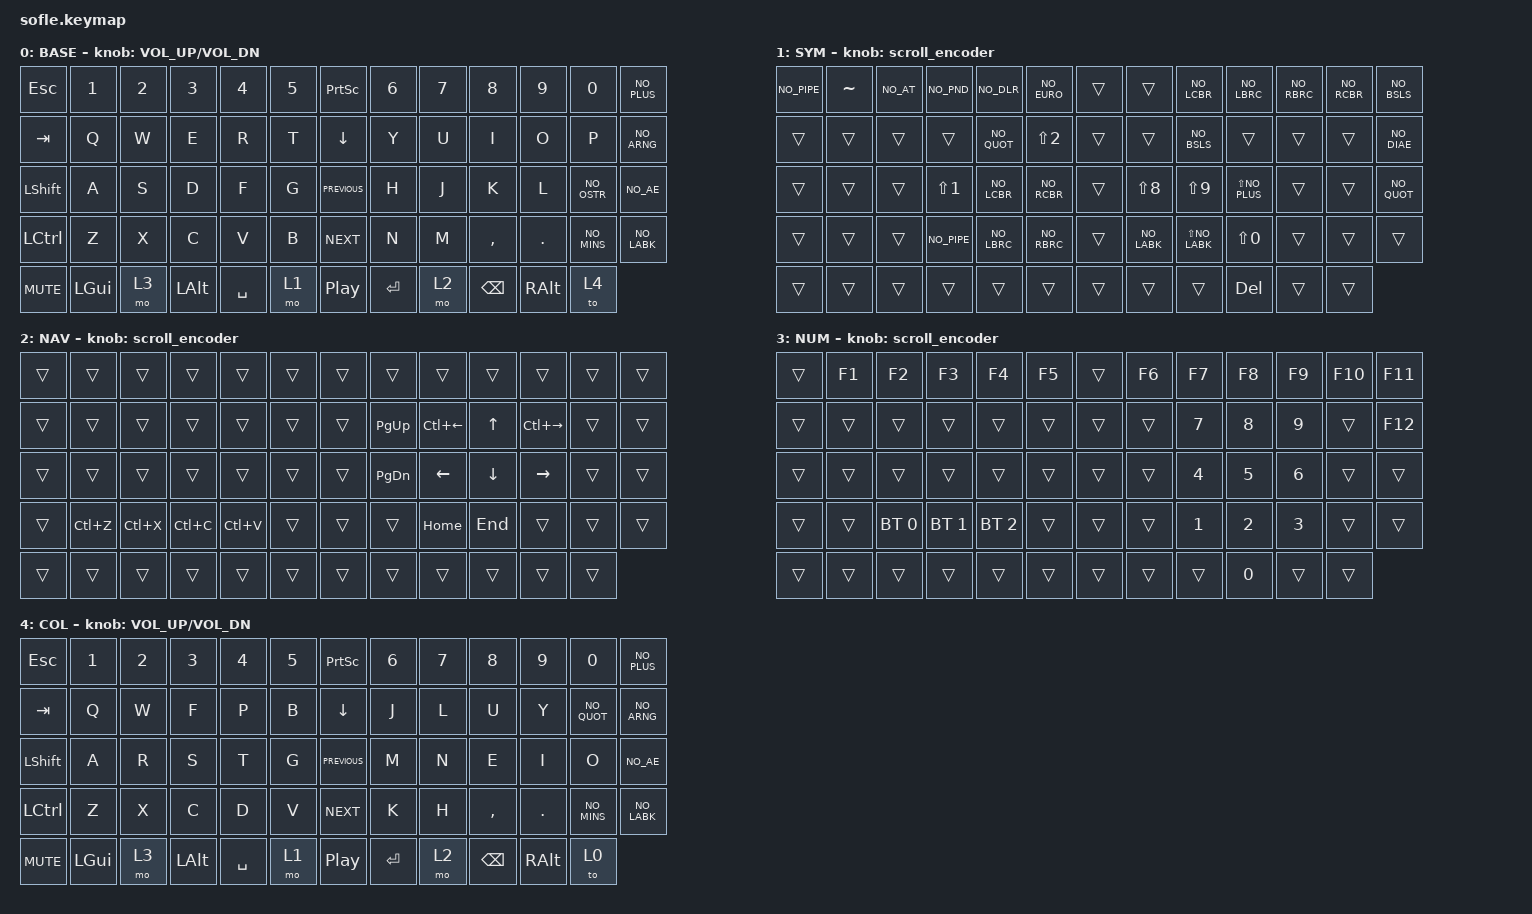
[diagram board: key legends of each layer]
#include <behaviors/mouse_keys.dtsi>
#include <dt-bindings/zmk/mouse.h>
#include "keys_no.h"
#include <behaviors.dtsi>
#include <dt-bindings/zmk/bt.h>
#include <dt-bindings/zmk/keys.h>

#define ZMK_MOUSE_DEFAULT_MOVE_VAL 1200  // 600
#define ZMK_MOUSE_DEFAULT_SCRL_VAL 20    // 10
#define U_MS_U &mmv MOVE_UP
#define U_MS_D &mmv MOVE_DOWN
#define U_MS_L &mmv MOVE_LEFT
#define U_MS_R &mmv MOVE_RIGHT
#define ZMK_MOUSE_DEFAULT_MOVE_VAL 1200  //  600
#define ZMK_MOUSE_DEFAULT_SCRL_VAL 20    // 10

/ {
    behaviors {
        mmv {
            acceleration-exponent = <1>;      // 1
            time-to-max-speed-ms = <900>;    // 40
            delay-ms = <0>;                   // 0
        };

        msc {
            acceleration-exponent = <1>;      // 0
            time-to-max-speed-ms = <400>;      // 500
            delay-ms = <0>;                   //   10
        };
    };

    scroll_encoder: scroll_encoder {
        compatible = "zmk,behavior-sensor-rotate";
        #sensor-binding-cells = <0>;
        bindings = <&msc SCRL_DOWN>, <&msc SCRL_UP>;

        tap-ms = <30>;
    };

    keymap {
        compatible = "zmk,keymap";

        layer0 {
            bindings = <
&kp ESC     &kp N1        &kp N2        &kp N3             &kp N4        &kp N5        &kp PSCRN         &kp N6     &kp N7         &kp N8             &kp N9   &kp N0       &kp NO_PLUS
&kp TAB     &kp Q         &kp W         &kp E              &kp R         &kp T         &kp DOWN_ARROW    &kp Y      &kp U          &kp I              &kp O    &kp P        &kp NO_ARNG
&kp LSHFT   &kp A         &kp S         &kp D              &kp F         &kp G         &kp C_PREVIOUS    &kp H      &kp J          &kp K              &kp L    &kp NO_OSTR  &kp NO_AE
&kp LCTRL   &kp Z         &kp X         &kp C              &kp V         &kp B         &kp C_NEXT        &kp N      &kp M          &kp COMMA          &kp DOT  &kp NO_MINS  &kp NO_LABK
&kp C_MUTE  &kp LEFT_GUI  &mo 3         &kp LALT           &kp SPACE     &mo 1         &kp C_PLAY_PAUSE  &kp ENTER  &mo 2          &kp BACKSPACE      &kp RALT &to 4
            >;

            sensor-bindings = <&inc_dec_kp C_VOLUME_UP C_VOL_DN>;
            display-name = "BASE";
        };

        layer1 {
            bindings = <
&kp NO_PIPE  &kp TILDE     &kp NO_AT     &kp NO_PND    &kp NO_DLR        &kp NO_EURO    &trans       &trans        &kp NO_LCBR      &kp NO_LBRC      &kp NO_RBRC    &kp NO_RCBR  &kp NO_BSLS        
&trans       &trans        &trans        &trans        &kp NO_QUOT       &kp LS(N2)     &trans       &trans        &kp NO_BSLS      &trans           &trans         &trans       &kp NO_DIAE
&trans       &trans        &trans        &kp LS(N1)    &kp NO_LCBR       &kp NO_RCBR    &trans       &kp LS(N8)    &kp LS(N9)       &kp LS(NO_PLUS)  &trans         &trans       &kp NO_QUOT
&trans       &trans        &trans        &kp NO_PIPE   &kp NO_LBRC       &kp NO_RBRC    &trans       &kp NO_LABK   &kp LS(NO_LABK)  &kp LS(N0)       &trans         &trans       &trans
&trans       &trans        &trans        &trans        &trans            &trans         &trans       &trans        &trans           &kp DELETE       &trans         &trans
            >;

            display-name = "SYM";
            sensor-bindings = <&scroll_encoder>;
        };

        layer2 {
            bindings = <
&trans       &trans      &trans     &trans      &trans       &trans         &trans       &trans        &trans          &trans       &trans         &trans       &trans       
&trans       &trans      &trans     &trans      &trans       &trans         &trans       &kp PAGE_UP   &kp LC(LEFT)    &kp UP       &kp LC(RIGHT)  &trans       &trans
&trans       &trans      &trans     &trans      &trans       &trans         &trans       &kp PG_DN     &kp LEFT        &kp DOWN     &kp RIGHT      &trans       &trans
&trans       &kp LC(Z)   &kp LC(X)  &kp LC(C)   &kp LC(V)    &trans         &trans       &trans        &kp HOME        &kp END      &trans         &trans       &trans
&trans       &trans      &trans     &trans      &trans       &trans         &trans       &trans        &trans          &trans       &trans         &trans
            >;

            display-name = "NAV";
            sensor-bindings = <&scroll_encoder>;
        };

        layer3 {
            bindings = <
&trans     &kp F1        &kp F2        &kp F3        &kp F4            &kp F5         &trans       &kp F6        &kp F7      &kp F8       &kp F9        &kp F10       &kp F11
&trans     &trans        &trans        &trans        &trans            &trans         &trans       &trans        &kp N7      &kp N8       &kp N9        &trans        &kp F12    
&trans     &trans        &trans        &trans        &trans            &trans         &trans       &trans        &kp N4      &kp N5       &kp N6        &trans        &trans
&trans     &trans        &bt BT_SEL 0  &bt BT_SEL 1  &bt BT_SEL 2      &trans         &trans       &trans        &kp N1      &kp N2       &kp N3        &trans        &trans
&trans     &trans        &trans        &trans        &trans            &trans         &trans       &trans        &trans      &kp N0       &trans        &trans
            >;

            display-name = "NUM";
            sensor-bindings = <&scroll_encoder>;
        };
    
        layer4 {
            bindings = <
&kp ESC     &kp N1        &kp N2        &kp N3             &kp N4        &kp N5        &kp PSCRN         &kp N6     &kp N7         &kp N8             &kp N9   &kp N0       &kp NO_PLUS
&kp TAB     &kp Q         &kp W         &kp F              &kp P         &kp B         &kp DOWN_ARROW    &kp J      &kp L          &kp U              &kp Y    &kp NO_QUOT  &kp NO_ARNG
&kp LSHFT   &kp A         &kp R         &kp S              &kp T         &kp G         &kp C_PREVIOUS    &kp M      &kp N          &kp E              &kp I    &kp O        &kp NO_AE
&kp LCTRL   &kp Z         &kp X         &kp C              &kp D         &kp V         &kp C_NEXT        &kp K      &kp H          &kp COMMA          &kp DOT  &kp NO_MINS  &kp NO_LABK
&kp C_MUTE  &kp LEFT_GUI  &mo 3         &kp LALT           &kp SPACE     &mo 1         &kp C_PLAY_PAUSE  &kp ENTER  &mo 2          &kp BACKSPACE      &kp RALT &to 0
            >;

            sensor-bindings = <&inc_dec_kp C_VOLUME_UP C_VOL_DN>;
            display-name = "COL";
        };
    };
};
